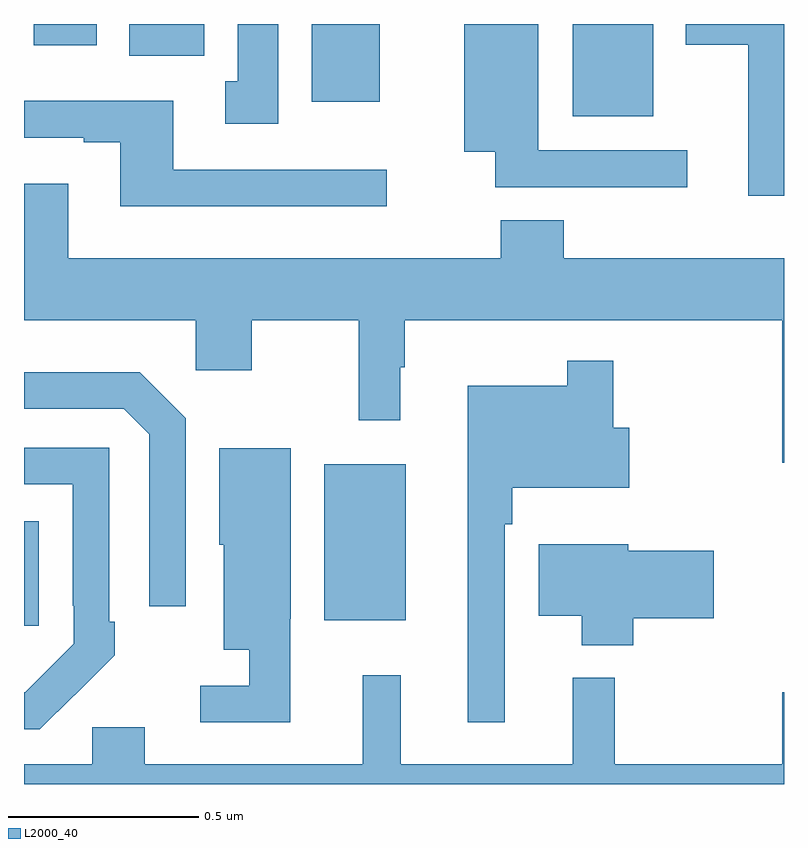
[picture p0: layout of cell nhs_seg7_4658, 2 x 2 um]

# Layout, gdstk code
import gdstk
lib = gdstk.Library(unit=1e-6, precision=1e-09)
def R(c, l, rs):  # rectangles x0, y0, x1, y1
    for r in rs: c.add(gdstk.rectangle(r[:2], r[2:], *l))
def P(c, l, *ps):  # polygons
    for p in ps: c.add(gdstk.Polygon(p, *l))
L2000_40 = (2000, 40)

nhs_seg7_4658 = lib.new_cell('nhs_seg7_4658')
R(nhs_seg7_4658, L2000_40, [(175,1062.417,175.039,1062.691), (175.79,1062.431,176.005,1062.841), (176.444,1063.757,176.656,1064), (175.757,1063.796,175.936,1064), (175.277,1063.916,175.474,1064), (175.025,1063.944,175.192,1064)])
P(nhs_seg7_4658, L2000_40, [(175.669,1064),(175.562,1064),(175.562,1063.85),(175.529,1063.85),(175.529,1063.737),(175.669,1063.737)],
  [(176.746,1063.668),(176.353,1063.668),(176.353,1064),(176.159,1064),(176.159,1063.664),(176.24,1063.664),(176.24,1063.571),(176.746,1063.571)],
  [(177,1064),(176.741,1064),(176.741,1063.946),(176.906,1063.946),(176.906,1063.548),(177,1063.548)],
  [(175.954,1063.617),(175.393,1063.617),(175.393,1063.798),(175,1063.798),(175,1063.701),(175.157,1063.701),(175.157,1063.689),(175.253,1063.689),(175.253,1063.52),(175.954,1063.52)],
  [(177,1063.384),(176.42,1063.384),(176.42,1063.483),(176.255,1063.483),(176.255,1063.384),(175.117,1063.384),(175.117,1063.579),(175,1063.579),(175,1063.22),(175.452,1063.22),(175.452,1063.089),(175.599,1063.089),(175.599,1063.22),(175.881,1063.22),(175.881,1062.957),(175.99,1062.957),(175.99,1063.097),(176.002,1063.097),(176.002,1063.22),(176.996,1063.22),(176.996,1062.846),(177,1062.846)],
  [(176.265,1062.683),(176.285,1062.683),(176.285,1062.779),(176.593,1062.779),(176.593,1062.937),(176.551,1062.937),(176.551,1063.114),(176.43,1063.114),(176.43,1063.048),(176.168,1063.048),(176.168,1062.162),(176.265,1062.162)],
  [(175.425,1062.963),(175.304,1063.084),(175,1063.084),(175,1062.987),(175.263,1062.987),(175.329,1062.921),(175.329,1062.468),(175.425,1062.468)],
  [(175.133,1062.235),(175.134,1062.234),(175.239,1062.339),(175.239,1062.427),(175.224,1062.427),(175.224,1062.885),(175,1062.885),(175,1062.789),(175.128,1062.789),(175.128,1062.469),(175.131,1062.469),(175.131,1062.369),(175.003,1062.241),(175,1062.241),(175,1062.144),(175.042,1062.144)],
  [(175.701,1062.435),(175.702,1062.435),(175.702,1062.883),(175.514,1062.883),(175.514,1062.63),(175.526,1062.63),(175.526,1062.353),(175.593,1062.353),(175.593,1062.258),(175.464,1062.258),(175.464,1062.162),(175.701,1062.162)],
  [(176.603,1062.436),(176.815,1062.436),(176.815,1062.614),(176.59,1062.614),(176.59,1062.631),(176.354,1062.631),(176.354,1062.443),(176.468,1062.443),(176.468,1062.365),(176.603,1062.365)],
  [(177,1062.241),(176.996,1062.241),(176.996,1062.052),(176.554,1062.052),(176.554,1062.28),(176.444,1062.28),(176.444,1062.052),(175.991,1062.052),(175.991,1062.286),(175.892,1062.286),(175.892,1062.052),(175.318,1062.052),(175.318,1062.15),(175.179,1062.15),(175.179,1062.052),(175,1062.052),(175,1062),(177,1062)])

lib.write_gds('nhs_seg7_4658.gds')
